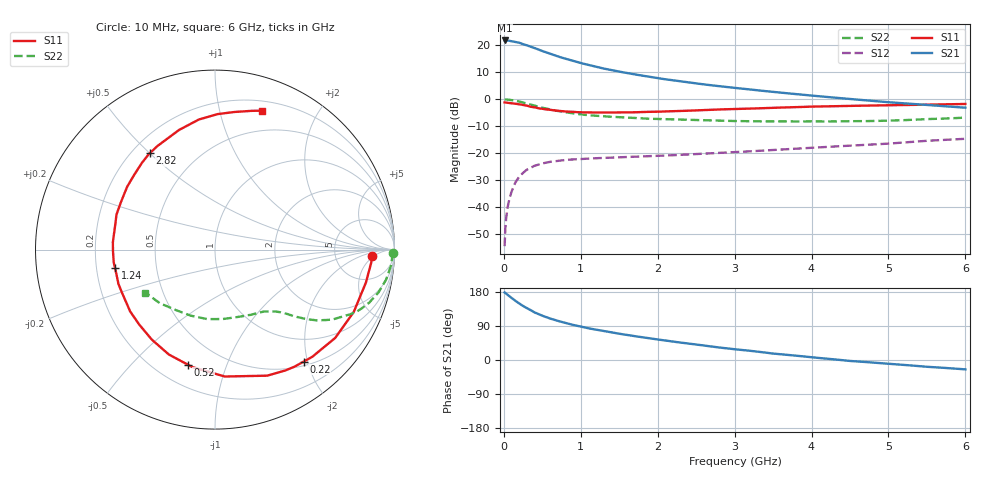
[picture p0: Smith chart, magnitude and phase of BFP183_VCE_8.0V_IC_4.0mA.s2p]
! (c) 2016  Infineon Technologies AG, Munich
! Infineon Technologies  Discrete & RF Semiconductors
! BFP183
! VCE = 8.0 V,  IC =  4.0 mA
! Common Emitter S-Parameters:  Jan 2016
# GHz  S  MA  R  50
!  f  S11  S21  S12  S22
! GHz  MAG  ANG  MAG  ANG  MAG  ANG  MAG  ANG
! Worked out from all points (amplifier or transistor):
!   210 points, 10 MHz to 6 GHz, reference 50 ohm
!   highest |S21| = 21.8 dB at 10 MHz (marker M1)
!   |S21| within 3 dB of that: start of sweep to 417.8 MHz
!   unconditionally stable (mu >= 1): 1.804 GHz to 5.808 GHz
!   at 185 MHz: K = 0.13, MSG = 25.2 dB, |S12| = -29.3 dB
!   at 1.52 GHz: K = 0.89, MSG = 15.8 dB, |S12| = -21.5 dB
!   at 6 GHz: K = 0.96, MSG = 5.8 dB, |S12| = -14.6 dB
!   S11 on the Smith chart (normalised r, x): 10 MHz: 14, -4; 220 MHz: 0.57, -1.93; 520 MHz: 0.33, -0.74; 1.24 GHz: 0.28, -0.09; 2.82 GHz: 0.27, +0.50; 6 GHz: 0.29, +1.35
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0.01  0.8751 -2.4  12.27 178.3  0.0019 86.2  0.9941 -1.0
0.025  0.8704 -5.9  12.23 176.2  0.0052 84.8  0.9882 -2.6
0.05  0.8607 -12.3  12.26 171.7  0.0101 86.0  0.9851 -5.1
0.1  0.8476 -24.2  11.89 164.0  0.0193 76.6  0.9671 -10.1
0.15  0.8311 -36.3  11.54 156.2  0.0287 70.8  0.9417 -14.7
0.2  0.8065 -47.8  11.15 149.0  0.0366 66.0  0.9085 -19.0
0.22  0.7956 -51.7  10.86 146.5  0.0393 63.4  0.8934 -20.5
0.3  0.7603 -67.5  9.966 136.8  0.0496 55.9  0.8335 -25.7
0.4  0.7092 -85.6  8.892 125.5  0.0587 48.2  0.7612 -30.8
0.52  0.6582 -103.4  7.644 115.3  0.0656 41.3  0.6873 -35.0
0.6  0.6386 -113.7  6.982 109.5  0.0692 38.0  0.6476 -36.9
0.7  0.6129 -125.0  6.198 103.2  0.0722 34.8  0.6064 -38.7
0.84  0.5886 -138.8  5.439 95.7  0.0758 31.5  0.5631 -40.7
1.02  0.5718 -154.3  4.608 87.1  0.0783 28.8  0.5207 -42.7
1.24  0.5663 -169.4  3.867 78.6  0.0813 26.6  0.4891 -45.0
1.6  0.5697 170.5  3.061 66.1  0.0852 25.2  0.4566 -48.9
2.02  0.5891 151.4  2.432 53.6  0.0896 25.8  0.4301 -54.6
2.82  0.6483 124.1  1.732 32.5  0.1017 26.9  0.3997 -68.8
3.1  0.6648 116.5  1.57 26.4  0.1065 27.2  0.3927 -74.6
4.1  0.7339 95.4  1.135 5.3  0.1287 26.5  0.3884 -99.2
5.1  0.7775 80.9  0.86 -11.4  0.1545 24.6  0.4053 -125.8
6  0.8174 71.3  0.697 -24.7  0.1852 18.5  0.4561 -148.3
